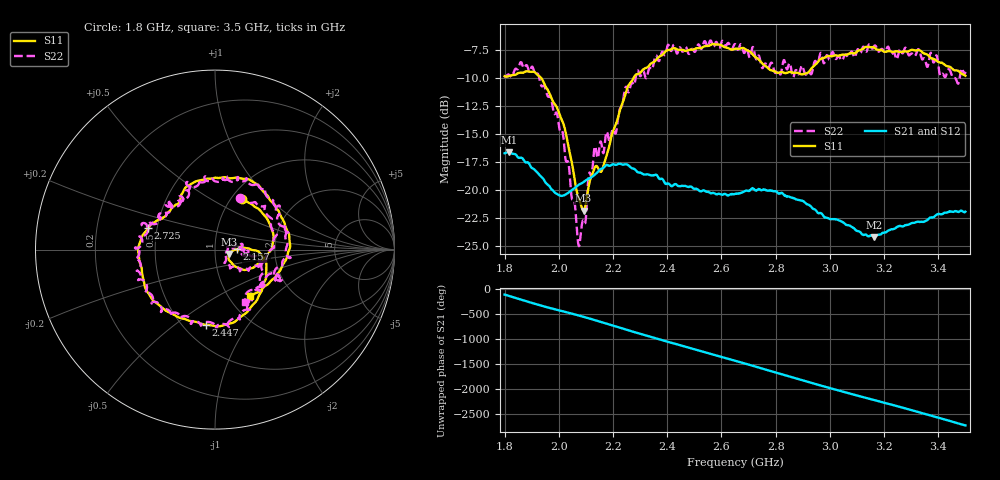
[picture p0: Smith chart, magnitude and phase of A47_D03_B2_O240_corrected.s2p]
! Created with skrf 1.9.0 (http://scikit-rf.org).
# Hz S RI R 50.0
!freq ReS11 ImS11 ReS21 ImS21 ReS12 ImS12 ReS22 ImS22
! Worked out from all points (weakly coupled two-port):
!   1601 points, 1.8 GHz to 3.5 GHz, reference 50 ohm
!   highest |S21| = -16.63 dB at 1.816 GHz (marker M1); lowest = -24.2 dB at 3.163 GHz (marker M2)
!   lowest |S11| = -21.8 dB at 2.091 GHz (marker M3), VSWR 1.18, Z = 58.3 - j2.88 ohm
!   |S11| at or under -10 dB: 1.934 GHz to 2.276 GHz (342.2 MHz wide, 16.3 % of centre)
!   |S22| runs from -25.0 to -6.7 dB; largest |S21 - S12| = 0.0025
!   S11 on the Smith chart (normalised r, x): 1.8 GHz: 1.12, +0.71; 2.157 GHz: 1.28, +0.00; 2.447 GHz: 0.64, -0.65; 2.725 GHz: 0.45, +0.13; 3.5 GHz: 1.25, -0.72
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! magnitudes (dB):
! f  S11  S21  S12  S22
! 1.8 GHz  -9.9  -16.7  -16.7  -9.9
! 1.816 GHz  -9.9  -16.6  -16.6  -9.7
! 1.903 GHz  -9.5  -18.1  -18.1  -9.0
! 1.968 GHz  -11.5  -19.7  -19.8  -11.6
! 2.014 GHz  -13.9  -20.5  -20.5  -14.8
! 2.072 GHz  -20.6  -19.6  -19.6  -24.8
! 2.084 GHz  -21.5  -19.4  -19.4  -23.3
! 2.091 GHz  -21.8  -19.3  -19.3  -22.7
! 2.13 GHz  -18.1  -18.7  -18.7  -16.4
! 2.157 GHz  -18.3  -18.1  -18.1  -15.8
! 2.209 GHz  -14.2  -17.8  -17.7  -15.0
! 2.258 GHz  -10.7  -17.8  -17.8  -11.3
! 2.367 GHz  -8.2  -18.9  -18.8  -8.5
! 2.447 GHz  -7.5  -19.7  -19.6  -7.3
! 2.65 GHz  -7.4  -20.3  -20.3  -7.0
! 2.725 GHz  -8.2  -20.0  -20.0  -8.2
! 2.806 GHz  -9.6  -20.2  -20.2  -9.3
! 2.934 GHz  -9.1  -21.6  -21.6  -9.6
! 3.163 GHz  -7.3  -24.2  -24.1  -7.2
! 3.217 GHz  -7.6  -23.6  -23.6  -7.3
! 3.469 GHz  -9.4  -21.9  -21.9  -10.4
! 3.5 GHz  -9.8  -21.9  -21.9  -9.5
